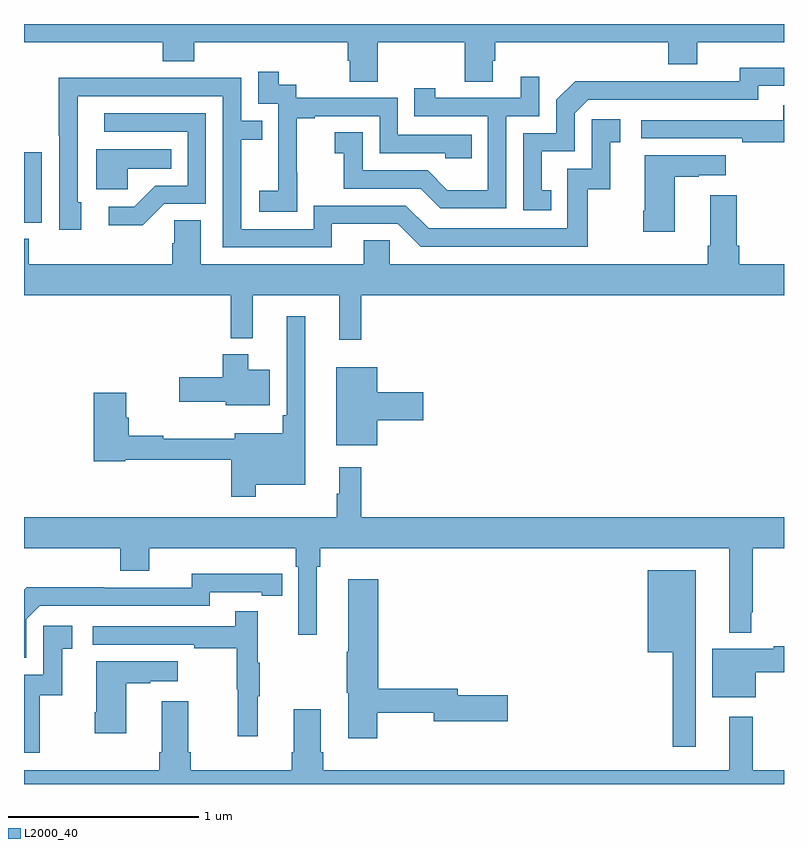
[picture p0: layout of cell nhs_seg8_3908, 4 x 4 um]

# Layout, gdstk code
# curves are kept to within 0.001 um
import gdstk
lib = gdstk.Library(unit=1e-6, precision=1e-09)
def R(c, l, rs):  # rectangles x0, y0, x1, y1
    for r in rs: c.add(gdstk.rectangle(r[:2], r[2:], *l))
def P(c, l, *ps):  # polygons
    for p in ps: c.add(gdstk.Polygon(p, *l))
L2000_40 = (2000, 40)

nhs_seg8_3908 = lib.new_cell('nhs_seg8_3908')
R(nhs_seg8_3908, L2000_40, [(351,1144.854,351.093,1145.224)])
P(nhs_seg8_3908, L2000_40, [(352.863,1145.804),(353.32,1145.804),(353.32,1145.596),(353.467,1145.596),(353.467,1145.706),(353.48,1145.706),(353.48,1145.804),(354.392,1145.804),(354.392,1145.687),(354.544,1145.687),(354.544,1145.804),(355,1145.804),(355,1145.9),(351,1145.9),(351,1145.804),(351.731,1145.804),(351.731,1145.705),(351.896,1145.705),(351.896,1145.804),(352.703,1145.804),(352.703,1145.706),(352.715,1145.706),(352.715,1145.596),(352.863,1145.596)],
  [(353.774,1145.025),(353.725,1145.025),(353.725,1145.229),(353.898,1145.229),(353.898,1145.43),(353.97,1145.502),(354.864,1145.502),(354.864,1145.574),(355,1145.574),(355,1145.671),(354.768,1145.671),(354.768,1145.598),(354.308,1145.598),(354.308,1145.6),(353.9,1145.6),(353.802,1145.502),(353.802,1145.325),(353.628,1145.325),(353.628,1144.92),(353.774,1144.92)],
  [(352.437,1145.119),(352.436,1145.119),(352.436,1145.403),(352.531,1145.403),(352.531,1145.415),(352.872,1145.415),(352.872,1145.22),(353.217,1145.22),(353.217,1145.193),(353.357,1145.193),(353.357,1145.316),(352.968,1145.316),(352.968,1145.511),(352.434,1145.511),(352.434,1145.58),(352.342,1145.58),(352.342,1145.65),(352.233,1145.65),(352.233,1145.481),(352.338,1145.481),(352.338,1145.252),(352.337,1145.252),(352.337,1145.023),(352.239,1145.023),(352.239,1144.913),(352.437,1144.913)],
  [(353.538,1145.415),(353.712,1145.415),(353.712,1145.623),(353.615,1145.623),(353.615,1145.511),(353.164,1145.511),(353.164,1145.563),(353.053,1145.563),(353.053,1145.415),(353.442,1145.415),(353.442,1145.026),(353.228,1145.026),(353.124,1145.13),(352.782,1145.13),(352.782,1145.329),(352.635,1145.329),(352.635,1145.219),(352.684,1145.219),(352.684,1145.034),(353.087,1145.034),(353.192,1144.929),(353.538,1144.929)],
  [(352.621,1144.848),(352.968,1144.848),(353.088,1144.728),(353.968,1144.728),(353.968,1145.031),(354.086,1145.031),(354.086,1145.277),(354.139,1145.277),(354.139,1145.398),(353.988,1145.398),(353.988,1145.139),(353.859,1145.139),(353.859,1144.824),(353.13,1144.824),(353.01,1144.944),(352.524,1144.944),(352.524,1144.821),(352.143,1144.821),(352.143,1145.29),(352.253,1145.29),(352.253,1145.391),(352.143,1145.391),(352.143,1145.616),(351.647,1145.616),(351.647,1145.618),(351.184,1145.618),(351.184,1145.311),(351.186,1145.311),(351.186,1144.818),(351.301,1144.818),(351.301,1144.962),(351.282,1144.962),(351.283,1145.52),(352.047,1145.52),(352.047,1144.725),(352.621,1144.725)],
  [(355,1145.473),(354.997,1145.473),(354.997,1145.394),(354.249,1145.394),(354.249,1145.298),(354.781,1145.298),(354.781,1145.278),(355,1145.278)],
  [(351.738,1144.953),(351.957,1144.953),(351.957,1145.43),(351.423,1145.43),(351.423,1145.334),(351.861,1145.334),(351.861,1145.049),(351.692,1145.049),(351.581,1144.938),(351.447,1144.938),(351.447,1144.841),(351.625,1144.841)],
  [(351.546,1145.138),(351.776,1145.138),(351.776,1145.242),(351.38,1145.242),(351.38,1145.03),(351.546,1145.03)],
  [(354.424,1145.095),(354.551,1145.095),(354.551,1145.105),(354.694,1145.105),(354.694,1145.209),(354.266,1145.209),(354.266,1144.918),(354.259,1144.918),(354.259,1144.806),(354.424,1144.806)],
  [(352.775,1144.472),(355,1144.472),(355,1144.636),(354.764,1144.636),(354.764,1144.732),(354.751,1144.732),(354.751,1144.999),(354.611,1144.999),(354.611,1144.732),(354.599,1144.732),(354.599,1144.636),(352.926,1144.636),(352.926,1144.763),(352.787,1144.763),(352.787,1144.636),(351.931,1144.636),(351.931,1144.868),(351.792,1144.868),(351.792,1144.745),(351.779,1144.745),(351.779,1144.636),(351.026,1144.636),(351.026,1144.769),(351,1144.769),(351,1144.472),(352.087,1144.472),(352.087,1144.247),(352.205,1144.247),(352.205,1144.472),(352.658,1144.472),(352.658,1144.239),(352.775,1144.239)],
  [(352.219,1143.476),(352.48,1143.476),(352.48,1144.363),(352.383,1144.363),(352.383,1143.841),(352.363,1143.841),(352.363,1143.745),(352.109,1143.745),(352.109,1143.716),(351.734,1143.716),(351.734,1143.734),(351.551,1143.734),(351.551,1143.828),(351.538,1143.828),(351.538,1143.958),(351.368,1143.958),(351.368,1143.598),(351.534,1143.598),(351.534,1143.606),(352.09,1143.606),(352.09,1143.411),(352.219,1143.411)],
  [(352.294,1144.081),(352.18,1144.081),(352.18,1144.162),(352.046,1144.162),(352.046,1144.041),(351.816,1144.041),(351.816,1143.911),(352.062,1143.911),(352.062,1143.893),(352.294,1143.893)],
  [(352.858,1143.815),(353.101,1143.815),(353.101,1143.962),(352.858,1143.962),(352.858,1144.093),(352.643,1144.093),(352.643,1143.683),(352.858,1143.683)],
  [(352.54,1143.044),(352.559,1143.044),(352.559,1143.14),(354.713,1143.14),(354.713,1142.696),(354.828,1142.696),(354.828,1142.803),(354.835,1142.803),(354.835,1143.14),(355,1143.14),(355,1143.304),(352.775,1143.304),(352.775,1143.568),(352.658,1143.568),(352.658,1143.428),(352.647,1143.428),(352.647,1143.304),(351,1143.304),(351,1143.14),(351.506,1143.14),(351.506,1143.023),(351.658,1143.023),(351.658,1143.14),(352.43,1143.14),(352.43,1143.044),(352.443,1143.044),(352.443,1142.685),(352.54,1142.685)],
  [(354.535,1143.025),(354.284,1143.025),(354.284,1142.594),(354.414,1142.594),(354.414,1142.097),(354.535,1142.097)],
  [(351.012,1142.766),(351.084,1142.838),(351.978,1142.838),(351.978,1142.91),(352.25,1142.91),(352.25,1142.89),(352.358,1142.89),(352.358,1143.006),(351.882,1143.007),(351.882,1142.934),(351.422,1142.934),(351.422,1142.936),(351.014,1142.936),(351,1142.922),(351,1142.565),(351.012,1142.565)],
  [(352.86,1142.274),(353.156,1142.274),(353.156,1142.231),(353.545,1142.231),(353.545,1142.366),(353.284,1142.366),(353.284,1142.402),(352.865,1142.402),(352.865,1142.977),(352.706,1142.977),(352.706,1142.597),(352.699,1142.597),(352.699,1142.379),(352.706,1142.379),(352.706,1142.142),(352.86,1142.142)],
  [(352.229,1142.363),(352.24,1142.363),(352.24,1142.537),(352.229,1142.537),(352.229,1142.809),(352.111,1142.809),(352.111,1142.73),(351.363,1142.73),(351.363,1142.634),(351.895,1142.634),(351.895,1142.614),(352.119,1142.614),(352.119,1142.4),(352.126,1142.4),(352.126,1142.151),(352.229,1142.151)],
  [(351.082,1142.367),(351.2,1142.367),(351.2,1142.613),(351.253,1142.613),(351.253,1142.734),(351.102,1142.734),(351.102,1142.475),(351,1142.475),(351,1142.064),(351.082,1142.064)],
  [(354.85,1142.488),(355,1142.488),(355,1142.624),(354.946,1142.624),(354.946,1142.611),(354.623,1142.611),(354.623,1142.357),(354.85,1142.357)],
  [(351.538,1142.431),(351.665,1142.431),(351.665,1142.441),(351.808,1142.441),(351.808,1142.545),(351.38,1142.545),(351.38,1142.278),(351.373,1142.278),(351.373,1142.166),(351.538,1142.166)],
  [(355,1141.972),(354.835,1141.972),(354.835,1142.254),(354.713,1142.254),(354.713,1141.972),(352.574,1141.972),(352.574,1142.068),(352.561,1142.068),(352.561,1142.293),(352.421,1142.293),(352.421,1142.068),(352.409,1142.068),(352.409,1141.972),(351.878,1141.972),(351.878,1142.068),(351.865,1142.068),(351.865,1142.335),(351.725,1142.335),(351.725,1142.068),(351.713,1142.068),(351.713,1141.972),(351,1141.972),(351,1141.9),(355,1141.9)])

lib.write_gds('nhs_seg8_3908.gds')
